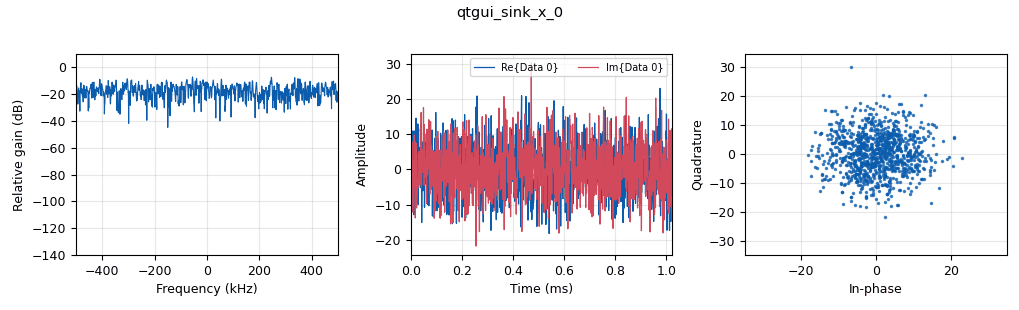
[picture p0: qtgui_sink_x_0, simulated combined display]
options:
  parameters:
    generate_options: qt_gui
    id: simulation
    output_language: python
    title: Not titled yet
  states: {}

blocks:
- name: decimation
  id: variable
  parameters:
    value: int(1)
  states: {}
- name: per_samps
  id: variable
  parameters:
    value: int(np.arange(.5, 0, -.0000001).size)
  states: {}
- name: period
  id: variable
  parameters:
    value: np.arange(.5, 0, -.0000001).size * samp_rate
  states: {}
- name: samp_rate
  id: variable
  parameters:
    value: 1e6
  states: {}
- name: analog_const_source_x_0
  id: analog_const_source_x
  parameters:
    const: '1'
    type: float
  states: {}
- name: analog_sig_source_x_0
  id: analog_sig_source_x
  parameters:
    amp: '.25'
    freq: '1000'
    offset: '0'
    phase: '0'
    samp_rate: samp_rate
    type: complex
    waveform: analog.GR_COS_WAVE
  states: {}
- name: blocks_add_const_vxx_0
  id: blocks_add_const_vxx
  parameters:
    const: '10'
    type: float
  states: {state: disabled}
- name: blocks_add_const_vxx_0_0
  id: blocks_add_const_vxx
  parameters:
    const: '20'
    type: float
  states: {state: disabled}
- name: blocks_add_const_vxx_0_1
  id: blocks_add_const_vxx
  parameters:
    const: '30'
    type: float
  states: {state: disabled}
- name: blocks_add_xx_0
  id: blocks_add_xx
  parameters:
    num_inputs: '5'
    type: float
    vlen: int(per_samps / decimation)
  states: {state: disabled}
- name: blocks_complex_to_mag_squared_0
  id: blocks_complex_to_mag_squared
  parameters: {}
  states: {}
- name: blocks_complex_to_mag_squared_0_0
  id: blocks_complex_to_mag_squared
  parameters: {}
  states: {state: disabled}
- name: blocks_complex_to_mag_squared_0_1
  id: blocks_complex_to_mag_squared
  parameters: {}
  states: {state: disabled}
- name: blocks_complex_to_mag_squared_0_2
  id: blocks_complex_to_mag_squared
  parameters: {}
  states: {state: disabled}
- name: blocks_delay_0
  id: blocks_delay
  parameters:
    delay: '1'
    type: float
    vlen: int(per_samps / decimation)
  states: {state: disabled}
- name: blocks_delay_0_0
  id: blocks_delay
  parameters:
    delay: '1'
    type: float
    vlen: int(per_samps / decimation)
  states: {state: disabled}
- name: blocks_delay_0_1
  id: blocks_delay
  parameters:
    delay: '1'
    type: float
    vlen: int(per_samps / decimation)
  states: {state: disabled}
- name: blocks_delay_0_2
  id: blocks_delay
  parameters:
    delay: '1'
    type: float
    vlen: int(per_samps / decimation)
  states: {state: disabled}
- name: blocks_file_sink_0
  id: blocks_file_sink
  parameters:
    file: /Users/vivelpanel/Desktop/sim_pfbdata/ch1
    type: float
  states: {state: disabled}
- name: blocks_file_sink_0_1
  id: blocks_file_sink
  parameters:
    file: /Users/vivelpanel/Desktop/sim_pfbdata/ch4
    type: float
  states: {state: disabled}
- name: blocks_file_sink_0_2
  id: blocks_file_sink
  parameters:
    file: /Users/vivelpanel/Desktop/sim_pfbdata/ch2
    type: float
  states: {state: disabled}
- name: blocks_file_sink_0_3
  id: blocks_file_sink
  parameters:
    file: /Users/vivelpanel/Desktop/sim_pfbdata/ch3
    type: float
  states: {state: disabled}
- name: blocks_file_sink_1
  id: blocks_file_sink
  parameters:
    comment: works
    file: /Users/vivelpanel/Desktop/vecfile
    type: float
    vlen: '1024'
  states: {}
- name: blocks_message_strobe_0
  id: blocks_message_strobe
  parameters:
    msg: pmt.intern("TEST")
    period: '1000'
  states: {state: disabled}
- name: blocks_null_sink_0
  id: blocks_null_sink
  parameters:
    num_inputs: 31-9
    type: complex
  states: {}
- name: blocks_null_sink_1
  id: blocks_null_sink
  parameters:
    num_inputs: '8'
    type: complex
  states: {}
- name: blocks_stream_to_vector_0
  id: blocks_stream_to_vector
  parameters:
    num_items: '1024'
    type: float
  states: {}
- name: blocks_throttle_0
  id: blocks_throttle
  parameters:
    samples_per_second: samp_rate
    type: complex
  states: {}
- name: blocks_throttle_1
  id: blocks_throttle
  parameters:
    samples_per_second: samp_rate
    type: complex
  states: {state: disabled}
- name: blocks_vector_source_x_0
  id: blocks_vector_source_x
  parameters:
    repeat: 'True'
    type: float
    vector: np.arange(.5, 0, -.0000001)
  states: {}
- name: blocks_vector_to_stream_0
  id: blocks_vector_to_stream
  parameters:
    num_items: int(per_samps / decimation)
    type: float
  states: {state: disabled}
- name: blocks_vector_to_stream_2
  id: blocks_vector_to_stream
  parameters:
    num_items: int(per_samps / decimation)
    type: float
  states: {state: disabled}
- name: channels_channel_model2_0
  id: channels_channel_model2
  parameters:
    epsilon: '1.0'
    noise_voltage: '10.0'
    seed: '0'
    taps: 1.0 + 1.0j
  states: {}
- name: channels_dynamic_channel_model_0
  id: channels_dynamic_channel_model
  parameters:
    LOS: 'False'
    N: '8'
    cfo_maxdev: 1e3
    cfo_stdev: '0.01'
    delays: 0.0,0.1,1.3
    fD: '2.0'
    mags: 1,0.99,0.97
    noise_amp: '1.0'
    ntaps: '8'
    samp_rate: samp_rate
    seed: '0'
    sro_maxdev: 1e3
    sro_stdev: '0.01'
  states: {state: disabled}
- name: epy_block_0
  id: epy_block
  parameters:
    _source_code: |
      """
      Embedded Python Blocks:

      Each time this file is saved, GRC will instantiate the first class it finds
      to get ports and parameters of your block. The arguments to __init__  will
      be the parameters. All of them are required to have default values!
      """

      import numpy as np
      from gnuradio import gr


      class blk(gr.sync_block):  # other base classes are basic_block, decim_block, interp_block
          """Pulse block - Only allows signal to pass once a certain number of samples are passed inl"""

          def __init__(self, samp_rate=1000000, period=.033):  # only default arguments here
              """arguments to this function show up as parameters in GRC"""
              gr.sync_block.__init__(
                  self,
                  name='Pulse',   # will show up in GRC
                  in_sig=[np.complex64],
                  out_sig=[np.complex64]
              )
              # if an attribute with the same name as a parameter is found,
              # a callback is registered (properties work, too).
              self.samp_rate = samp_rate
              self.period = period
              self.counter = 0
              self.reset = self.period + 10

          def work(self, input_items, output_items):
              """Change amplitude of signal based on how many points passed through."""
              
              if self.counter > self.reset:
                  self.counter = 0
              
              if self.counter > self.period:
                  output_items[0][:] = input_items[0][:]
              else:
                  output_items[0][:] = 0
              
              self.counter += len(output_items[0])
              
              return len(output_items[0])
    period: '1'
    samp_rate: '32000'
  states: {state: disabled}
- name: epy_block_1
  id: epy_block
  parameters:
    _source_code: "\"\"\"\nEmbedded Python Blocks:\n\nEach time this file is saved, GRC will instantiate the first class it finds\nto get ports and parameters of your block. The arguments to __init__  will\nbe the parameters. All of them are required to have default values!\n\"\"\"\n\nimport numpy as np\nfrom gnuradio import gr\nimport pmt\n\nclass blk(gr.sync_block):  # other base classes are basic_block, decim_block, interp_block\n    \"\"\"Embedded Python Block example - a simple multiply const\"\"\"\n\n    def __init__(self, example_param=1.0):  # only default arguments here\n        \"\"\"arguments to this function show up as parameters in GRC\"\"\"\n        gr.sync_block.__init__(\n            self,\n            name='Pulsar Frequency',   # will show up in GRC\n            in_sig=None,\n            out_sig=None\n        )\n        # if an attribute with the same name as a parameter is found,\n        # a callback is registered (properties work, too).\n        \n        self.strobePortName = 'Strobe'\n        self.message_port_register_in(pmt.intern(self.strobePortName))\n        self.set_msg_handler(pmt.intern(self.strobePortName), self.handle_msg)\n        self.pulse = False\n        \n        self.outPortName = 'freq'\n        self.\n    \n    def handle_msg(self, msg):\n        self.selector = pmt.to_bool(msg)\n    \n    def work(self, input_items, output_items):\n        \"\"\"example: multiply with constant\"\"\"\n        if self.selector:\n            \n        return len(output_items[0])\n    "
    example_param: '1.0'
  states: {state: disabled}
- name: import_0
  id: import
  parameters:
    imports: import numpy as np
  states: {}
- name: import_1
  id: import
  parameters:
    imports: import mitarspysigproc.filtertools
  states: {}
- name: note_0
  id: note
  parameters:
    comment: |-
      This theoretical pulsar
      has a period of 0.033
      and a dispersion measure
      of 0.0127 (arxiv.org/abs/220
      7.04267) and only one
      pulse per period.
    note: pulsar sim
  states: {state: disabled}
- name: pfb_channelizer_ccf_0
  id: pfb_channelizer_ccf
  parameters:
    atten: '100'
    bus_conns: '[[0,],]'
    ch_map: '[]'
    nchans: '31'
    osr: '1.0'
    taps: mitarspysigproc.filtertools.kaiser_coeffs(31)
  states: {}
- name: pulspy
  id: epy_module
  parameters:
    source_code: |
      # this module will be imported in the into your flowgraph

      import numpy as np

      def pulsing_repeats(sr, ran):
          '''
          Parameters
          ----------

          sr : float
              Sample rate (determines frequencies that pulse goes over)

          ran : array-like, numpy array
              Range of values where frequency varies


          Returns
          -------

          repeats : array-like
              Number of samples at each frequency (before pulse moves to next frequency)
          '''

          # based on dispersion measure equation

          dm = .0127 # dispersion measure [pc*cm^-3]: arxiv.org/abs/2207.04267
          kdm = 4.149e18 # dispersion constant [Hz^2*pc^-1*cm^3*ms] (converted from units of GHz^2 to Hz^2)

          # nu2^-2 - nu1^-2 [Hz^-2]
          freq_diff = np.array([(sr * ran[i])**(-2) - (sr * ran[i + 1])**(-2) for i in range(ran.size - 1)])
          np.append(freq_diff, 0)
          assert freq_diff.size == ran.size

          # change in time between two frequencies (∆t) [ms]
          t = dm * kdm * freq_diff

          # convert time to number of samples
          repeats = np.array(t * samp_rate / 1000, dtype='int')
          repeats[0] = repeats[0] * -1  # because conversion from 'inf' yields large negative int
          return repeats
  states: {}
- name: qtgui_freq_sink_x_0
  id: qtgui_freq_sink_x
  parameters:
    bw: samp_rate
    fc: '0'
    fftsize: '1024'
    gui_hint: (1,4)
    type: complex
  states: {state: disabled}
- name: qtgui_freq_sink_x_0_0
  id: qtgui_freq_sink_x
  parameters:
    bw: samp_rate
    fc: '0'
    fftsize: '1024'
    gui_hint: (1,5)
    type: complex
  states: {state: disabled}
- name: qtgui_freq_sink_x_0_1
  id: qtgui_freq_sink_x
  parameters:
    bw: samp_rate
    fc: '0'
    fftsize: '1024'
    gui_hint: (1,6)
    type: complex
  states: {state: disabled}
- name: qtgui_freq_sink_x_0_2
  id: qtgui_freq_sink_x
  parameters:
    bw: samp_rate
    fc: '0'
    fftsize: '1024'
    gui_hint: (1,7)
    type: complex
  states: {state: disabled}
- name: qtgui_freq_sink_x_0_3
  id: qtgui_freq_sink_x
  parameters:
    bw: samp_rate
    fc: '0'
    fftsize: '1024'
    gui_hint: (1,8)
    type: complex
  states: {state: disabled}
- name: qtgui_freq_sink_x_0_4
  id: qtgui_freq_sink_x
  parameters:
    bw: samp_rate
    fc: '0'
    fftsize: '1024'
    gui_hint: (1,3)
    type: complex
  states: {state: disabled}
- name: qtgui_freq_sink_x_0_5
  id: qtgui_freq_sink_x
  parameters:
    bw: samp_rate
    fc: '0'
    fftsize: '1024'
    gui_hint: (1,0)
    type: complex
  states: {state: disabled}
- name: qtgui_freq_sink_x_0_5_0
  id: qtgui_freq_sink_x
  parameters:
    bw: samp_rate
    fc: '0'
    fftsize: '1024'
    gui_hint: (1,2)
    type: complex
  states: {state: disabled}
- name: qtgui_freq_sink_x_0_6
  id: qtgui_freq_sink_x
  parameters:
    bw: samp_rate
    fc: '0'
    fftsize: '1024'
    gui_hint: (1,1)
    type: complex
  states: {state: disabled}
- name: qtgui_sink_x_0
  id: qtgui_sink_x
  parameters:
    bw: samp_rate
    fc: '0'
    fftsize: '1024'
    gui_hint: (0,0, 1, 9)
    type: complex
  states: {}
- name: qtgui_time_sink_x_0
  id: qtgui_time_sink_x
  parameters:
    gui_hint: (0,0)
    size: '1024'
    srate: samp_rate
    type: complex
  states: {state: disabled}
- name: qtgui_time_sink_x_1
  id: qtgui_time_sink_x
  parameters:
    gui_hint: (0, 1)
    size: '1024'
    srate: samp_rate
    type: complex
  states: {state: disabled}
- name: qtgui_time_sink_x_2
  id: qtgui_time_sink_x
  parameters:
    gui_hint: (4, 0)
    size: '1024'
    srate: samp_rate
    type: float
  states: {state: disabled}
- name: qtgui_time_sink_x_2_0
  id: qtgui_time_sink_x
  parameters:
    gui_hint: (3, 0)
    size: '1024'
    srate: samp_rate
    type: float
  states: {state: disabled}
- name: qtgui_time_sink_x_2_0_0
  id: qtgui_time_sink_x
  parameters:
    gui_hint: (4,0)
    size: '1024'
    srate: samp_rate
    type: float
  states: {state: disabled}
- name: qtgui_time_sink_x_3
  id: qtgui_time_sink_x
  parameters:
    nconnections: '4'
    size: '10000'
    srate: samp_rate
    type: float
  states: {state: disabled}
- name: qtgui_vector_sink_f_0
  id: qtgui_vector_sink_f
  parameters:
    vlen: int(per_samps / decimation)
    x_start: '0'
    x_step: '1.0'
  states: {state: disabled}
- name: qtgui_waterfall_sink_x_0
  id: qtgui_waterfall_sink_x
  parameters:
    bw: samp_rate
    fc: '0'
    fftsize: '1024'
    gui_hint: (2,0)
    type: complex
  states: {}
- name: qtgui_waterfall_sink_x_0_0
  id: qtgui_waterfall_sink_x
  parameters:
    bw: samp_rate
    fc: '0'
    fftsize: '1024'
    gui_hint: (2,1)
    type: complex
  states: {state: disabled}
- name: qtgui_waterfall_sink_x_0_1
  id: qtgui_waterfall_sink_x
  parameters:
    bw: samp_rate
    fc: '0'
    fftsize: '1024'
    gui_hint: (2,2)
    type: complex
  states: {state: disabled}
- name: qtgui_waterfall_sink_x_0_2
  id: qtgui_waterfall_sink_x
  parameters:
    bw: samp_rate
    fc: '0'
    fftsize: '1024'
    gui_hint: (2,3)
    type: complex
  states: {state: disabled}
- name: qtgui_waterfall_sink_x_0_3
  id: qtgui_waterfall_sink_x
  parameters:
    bw: samp_rate
    fc: '0'
    fftsize: '1024'
    gui_hint: (2,4)
    type: complex
  states: {state: disabled}
- name: qtgui_waterfall_sink_x_0_4
  id: qtgui_waterfall_sink_x
  parameters:
    bw: samp_rate
    fc: '0'
    fftsize: '1024'
    gui_hint: (1,0)
    type: complex
  states: {state: disabled}
- name: qtgui_waterfall_sink_x_0_5
  id: qtgui_waterfall_sink_x
  parameters:
    bw: samp_rate
    fc: '0'
    fftsize: '1024'
    gui_hint: (1,3)
    type: complex
  states: {state: disabled}
- name: qtgui_waterfall_sink_x_0_6
  id: qtgui_waterfall_sink_x
  parameters:
    bw: samp_rate
    fc: '0'
    fftsize: '1024'
    gui_hint: (1,1)
    type: complex
  states: {state: disabled}
- name: qtgui_waterfall_sink_x_0_7
  id: qtgui_waterfall_sink_x
  parameters:
    bw: samp_rate
    fc: '0'
    fftsize: '1024'
    gui_hint: (1,2)
    type: complex
  states: {state: disabled}
- name: rational_resampler_xxx_0
  id: rational_resampler_xxx
  parameters:
    decim: decimation
    interp: '1'
    type: fff
  states: {}

connections:
- [analog_const_source_x_0, '0', channels_channel_model2_0, '2']
- [analog_sig_source_x_0, '0', blocks_throttle_0, '0']
- [blocks_add_const_vxx_0, '0', qtgui_time_sink_x_3, '0']
- [blocks_add_const_vxx_0_0, '0', qtgui_time_sink_x_3, '1']
- [blocks_add_const_vxx_0_1, '0', qtgui_time_sink_x_3, '2']
- [blocks_add_xx_0, '0', blocks_vector_to_stream_0, '0']
- [blocks_complex_to_mag_squared_0, '0', blocks_file_sink_0, '0']
- [blocks_complex_to_mag_squared_0, '0', qtgui_time_sink_x_2_0, '0']
- [blocks_complex_to_mag_squared_0, '0', qtgui_time_sink_x_3, '3']
- [blocks_complex_to_mag_squared_0, '0', rational_resampler_xxx_0, '0']
- [blocks_complex_to_mag_squared_0_0, '0', blocks_add_const_vxx_0, '0']
- [blocks_complex_to_mag_squared_0_0, '0', blocks_file_sink_0_2, '0']
- [blocks_complex_to_mag_squared_0_1, '0', blocks_add_const_vxx_0_0, '0']
- [blocks_complex_to_mag_squared_0_1, '0', blocks_file_sink_0_3, '0']
- [blocks_complex_to_mag_squared_0_2, '0', blocks_add_const_vxx_0_1, '0']
- [blocks_complex_to_mag_squared_0_2, '0', blocks_file_sink_0_1, '0']
- [blocks_delay_0, '0', blocks_add_xx_0, '1']
- [blocks_delay_0, '0', blocks_delay_0_0, '0']
- [blocks_delay_0_0, '0', blocks_add_xx_0, '2']
- [blocks_delay_0_0, '0', blocks_delay_0_1, '0']
- [blocks_delay_0_1, '0', blocks_add_xx_0, '3']
- [blocks_delay_0_1, '0', blocks_delay_0_2, '0']
- [blocks_delay_0_2, '0', blocks_add_xx_0, '4']
- [blocks_stream_to_vector_0, '0', blocks_add_xx_0, '0']
- [blocks_stream_to_vector_0, '0', blocks_delay_0, '0']
- [blocks_stream_to_vector_0, '0', blocks_file_sink_1, '0']
- [blocks_stream_to_vector_0, '0', blocks_vector_to_stream_2, '0']
- [blocks_stream_to_vector_0, '0', qtgui_vector_sink_f_0, '0']
- [blocks_throttle_0, '0', channels_channel_model2_0, '0']
- [blocks_throttle_0, '0', epy_block_0, '0']
- [blocks_throttle_0, '0', qtgui_time_sink_x_0, '0']
- [blocks_throttle_1, '0', qtgui_sink_x_0, '0']
- [blocks_vector_source_x_0, '0', channels_channel_model2_0, '1']
- [blocks_vector_to_stream_0, '0', qtgui_time_sink_x_2, '0']
- [blocks_vector_to_stream_2, '0', qtgui_time_sink_x_2_0_0, '0']
- [channels_channel_model2_0, '0', blocks_throttle_1, '0']
- [channels_channel_model2_0, '0', pfb_channelizer_ccf_0, '0']
- [channels_channel_model2_0, '0', qtgui_sink_x_0, '0']
- [epy_block_0, '0', qtgui_sink_x_0, '0']
- [epy_block_0, '0', qtgui_time_sink_x_1, '0']
- [pfb_channelizer_ccf_0, '0', qtgui_freq_sink_x_0, '0']
- [pfb_channelizer_ccf_0, '0', qtgui_waterfall_sink_x_0, '0']
- [pfb_channelizer_ccf_0, '1', blocks_complex_to_mag_squared_0, '0']
- [pfb_channelizer_ccf_0, '1', blocks_complex_to_mag_squared_0_0, '0']
- [pfb_channelizer_ccf_0, '1', blocks_null_sink_1, '0']
- [pfb_channelizer_ccf_0, '1', qtgui_freq_sink_x_0_0, '0']
- [pfb_channelizer_ccf_0, '1', qtgui_waterfall_sink_x_0_0, '0']
- [pfb_channelizer_ccf_0, '10', blocks_null_sink_0, '5']
- [pfb_channelizer_ccf_0, '11', blocks_null_sink_0, '6']
- [pfb_channelizer_ccf_0, '12', blocks_null_sink_0, '7']
- [pfb_channelizer_ccf_0, '13', blocks_null_sink_0, '8']
- [pfb_channelizer_ccf_0, '14', blocks_null_sink_0, '9']
- [pfb_channelizer_ccf_0, '15', blocks_null_sink_0, '10']
- [pfb_channelizer_ccf_0, '16', blocks_null_sink_0, '11']
- [pfb_channelizer_ccf_0, '17', blocks_null_sink_0, '12']
- [pfb_channelizer_ccf_0, '18', blocks_null_sink_0, '13']
- [pfb_channelizer_ccf_0, '19', blocks_null_sink_0, '14']
- [pfb_channelizer_ccf_0, '2', blocks_complex_to_mag_squared_0_1, '0']
- [pfb_channelizer_ccf_0, '2', blocks_null_sink_1, '1']
- [pfb_channelizer_ccf_0, '2', qtgui_freq_sink_x_0_1, '0']
- [pfb_channelizer_ccf_0, '2', qtgui_waterfall_sink_x_0_1, '0']
- [pfb_channelizer_ccf_0, '20', blocks_null_sink_0, '15']
- [pfb_channelizer_ccf_0, '21', blocks_null_sink_0, '16']
- [pfb_channelizer_ccf_0, '22', blocks_null_sink_0, '17']
- [pfb_channelizer_ccf_0, '23', blocks_null_sink_0, '18']
- [pfb_channelizer_ccf_0, '24', blocks_null_sink_0, '19']
- [pfb_channelizer_ccf_0, '25', blocks_null_sink_0, '20']
- [pfb_channelizer_ccf_0, '26', blocks_null_sink_0, '21']
- [pfb_channelizer_ccf_0, '27', blocks_null_sink_1, '4']
- [pfb_channelizer_ccf_0, '27', qtgui_freq_sink_x_0_5, '0']
- [pfb_channelizer_ccf_0, '27', qtgui_waterfall_sink_x_0_4, '0']
- [pfb_channelizer_ccf_0, '28', blocks_null_sink_1, '5']
- [pfb_channelizer_ccf_0, '28', qtgui_freq_sink_x_0_6, '0']
- [pfb_channelizer_ccf_0, '28', qtgui_waterfall_sink_x_0_6, '0']
- [pfb_channelizer_ccf_0, '29', blocks_null_sink_1, '6']
- [pfb_channelizer_ccf_0, '29', qtgui_freq_sink_x_0_5_0, '0']
- [pfb_channelizer_ccf_0, '29', qtgui_waterfall_sink_x_0_7, '0']
- [pfb_channelizer_ccf_0, '3', blocks_complex_to_mag_squared_0_2, '0']
- [pfb_channelizer_ccf_0, '3', blocks_null_sink_1, '2']
- [pfb_channelizer_ccf_0, '3', qtgui_freq_sink_x_0_2, '0']
- [pfb_channelizer_ccf_0, '3', qtgui_waterfall_sink_x_0_2, '0']
- [pfb_channelizer_ccf_0, '30', blocks_null_sink_1, '7']
- [pfb_channelizer_ccf_0, '30', qtgui_freq_sink_x_0_4, '0']
- [pfb_channelizer_ccf_0, '30', qtgui_waterfall_sink_x_0_5, '0']
- [pfb_channelizer_ccf_0, '4', blocks_null_sink_1, '3']
- [pfb_channelizer_ccf_0, '4', qtgui_freq_sink_x_0_3, '0']
- [pfb_channelizer_ccf_0, '4', qtgui_waterfall_sink_x_0_3, '0']
- [pfb_channelizer_ccf_0, '5', blocks_null_sink_0, '0']
- [pfb_channelizer_ccf_0, '6', blocks_null_sink_0, '1']
- [pfb_channelizer_ccf_0, '7', blocks_null_sink_0, '2']
- [pfb_channelizer_ccf_0, '8', blocks_null_sink_0, '3']
- [pfb_channelizer_ccf_0, '9', blocks_null_sink_0, '4']
- [rational_resampler_xxx_0, '0', blocks_stream_to_vector_0, '0']

metadata:
  file_format: 1
